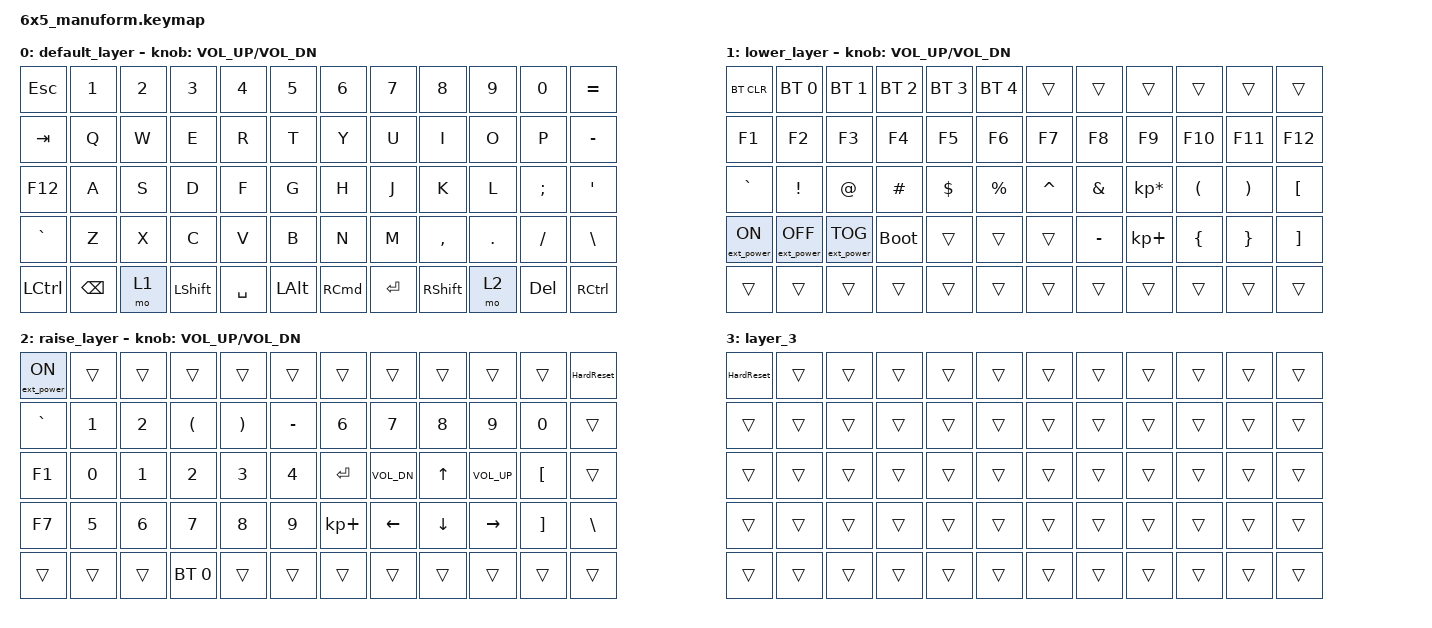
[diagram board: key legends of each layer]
/*
 * Copyright (c) 2020 The ZMK Contributors
 *
 * SPDX-License-Identifier: MIT
 */

#include <behaviors.dtsi>
#include <dt-bindings/zmk/bt.h>
#include <dt-bindings/zmk/ext_power.h>
#include <dt-bindings/zmk/keys.h>

&reset {
};

/ {
    macros {
        HardReset: HardReset {
            compatible = "zmk,behavior-macro";
            #binding-cells = <0>;
            bindings = <&bootloader &kp NON_US_BACKSLASH>;
            label = "HARDRESET";
        };
    };

    combos {
        compatible = "zmk,combos";

        HardReset {
            bindings = <&bootloader>;
            key-positions = <0 1>;
        };
    };

    keymap {
        compatible = "zmk,keymap";

        default_layer {
            // ------------------------------------------------------------------------------------------------------------
            // |  ESC   |  1  |  2  |  3   |  4   |  5   |                    |  6   |  7    |  8    |  9   |   0   |   `   |
            // |  TAB   |  Q  |  W  |  E   |  R   |  T   |                    |  Y   |  U    |  I    |  O   |   P   |   -   |
            // |  CTRL  |  A  |  S  |  D   |  F   |  G   |                    |  H   |  J    |  K    |  L   |   ;   |   '   |
            // | SHIFT  |  Z  |  X  |  C   |  V   |  B   |                    |  N   |  M    |  ,    |  .   |   /   | SHIFT |
            // |    2   |  2  | f   | 6    | 4    | 1    |                    | 2    | 1     | w     | s    | n     |  a    |

            bindings = <
&kp ESC    &kp N1    &kp N2  &kp N3     &kp N4     &kp N5    &kp N6             &kp N7   &kp N8           &kp N9   &kp N0    &kp EQUAL
&kp TAB    &kp Q     &kp W   &kp E      &kp R      &kp T     &kp Y              &kp U    &kp I            &kp O    &kp P     &kp MINUS
&kp F12    &kp A     &kp S   &kp D      &kp F      &kp G     &kp H              &kp J    &kp K            &kp L    &kp SEMI  &kp SQT
&kp GRAVE  &kp Z     &kp X   &kp C      &kp V      &kp B     &kp N              &kp M    &kp COMMA        &kp DOT  &kp FSLH  &kp BSLH
&kp LCTRL  &kp BSPC  &mo 1   &kp LSHFT  &kp SPACE  &kp LALT  &kp RIGHT_COMMAND  &kp RET  &kp RIGHT_SHIFT  &mo 2    &kp DEL   &kp RCTRL
            >;

            sensor-bindings = <&inc_dec_kp C_VOL_UP C_VOL_DN>;
        };

        lower_layer {
            // ------------------------------------------------------------------------------------------------------------
            // | BTCLR | BT1 | BT2 |  BT3 |  BT4 |  BT5 |                   |      |       |       |      |       |       |
            // |  F1   |  F2 |  F3 |  F4  |  F5  |  F6  |                   |  F7  |  F8   |  F9   |  F10 |  F11  |  F12  |
            // |   `   |  !  |  @  |  #   |  $   |  %   |                   |  ^   |  &    |  *    |  (   |   )   |   ~   |
            // |       |     |     |      |      |      |                   |      |  _    |  +    |  {   |   }   |  "|"  |
            // |       |     |     |      |      |      |                   |      |       |       |      |       |       |

            bindings = <
&bt BT_CLR        &bt BT_SEL 0       &bt BT_SEL 1       &bt BT_SEL 2  &bt BT_SEL 3  &bt BT_SEL 4  &trans     &trans     &trans           &trans    &trans    &trans
&kp F1            &kp F2             &kp F3             &kp F4        &kp F5        &kp F6        &kp F7     &kp F8     &kp F9           &kp F10   &kp F11   &kp F12
&kp GRAVE         &kp EXCL           &kp AT             &kp HASH      &kp DOLLAR    &kp PRCNT     &kp CARET  &kp AMPS   &kp KP_MULTIPLY  &kp LPAR  &kp RPAR  &kp LEFT_BRACKET
&ext_power EP_ON  &ext_power EP_OFF  &ext_power EP_TOG  &bootloader   &trans        &trans        &trans     &kp MINUS  &kp KP_PLUS      &kp LBRC  &kp RBRC  &kp RIGHT_BRACKET
&trans            &trans             &trans             &trans        &trans        &trans        &trans     &trans     &trans           &trans    &trans    &trans
            >;

            sensor-bindings = <&inc_dec_kp C_VOL_UP C_VOL_DN>;
        };

        raise_layer {
            // ------------------------------------------------------------------------------------------------------------
            // |       |     |     |      |      |      |                   |      |       |       |      |       |       |
            // |   `   |  1  |  2  |  3   |  4   |  5   |                   |  6   |   7   |   8   |  9   |   0   |       |
            // |   F1  |  F2 |  F3 |  F4  |  F5  |  F6  |                   |      |   <-  |   v   |  ^   |  ->   |       |
            // |   F7  |  F8 |  F9 |  F10 |  F11 |  F12 |		             |  +   |   -   |   =   |  [   |   ]   |   \   |
            // |     |     |      |      |      |        |                   |       |      |       |       |      |       |

            bindings = <
&ext_power EP_ON  &trans        &trans        &trans                &trans                 &trans        &trans       &trans          &trans          &trans        &trans            &HardReset
&kp GRAVE         &kp N1        &kp N2        &kp LEFT_PARENTHESIS  &kp RIGHT_PARENTHESIS  &kp MINUS     &kp N6       &kp N7          &kp N8          &kp N9        &kp N0            &trans
&kp F1            &kp NUMBER_0  &kp NUMBER_1  &kp NUMBER_2          &kp NUMBER_3           &kp NUMBER_4  &kp RET      &kp C_VOL_DN    &kp UP_ARROW    &kp C_VOL_UP  &kp LEFT_BRACKET  &trans
&kp F7            &kp NUMBER_5  &kp NUMBER_6  &kp NUMBER_7          &kp NUMBER_8           &kp N9        &kp KP_PLUS  &kp LEFT_ARROW  &kp DOWN_ARROW  &kp RIGHT     &kp RBKT          &kp BSLH
&trans            &trans        &trans        &bt BT_SEL 0          &trans                 &trans        &trans       &trans          &trans          &trans        &trans            &trans
            >;

            sensor-bindings = <&inc_dec_kp C_VOL_UP C_VOL_DN>;
        };

        layer_3 {
            bindings = <
&HardReset  &trans  &trans  &trans  &trans  &trans  &trans  &trans  &trans  &trans  &trans  &trans
&trans      &trans  &trans  &trans  &trans  &trans  &trans  &trans  &trans  &trans  &trans  &trans
&trans      &trans  &trans  &trans  &trans  &trans  &trans  &trans  &trans  &trans  &trans  &trans
&trans      &trans  &trans  &trans  &trans  &trans  &trans  &trans  &trans  &trans  &trans  &trans
&trans      &trans  &trans  &trans  &trans  &trans  &trans  &trans  &trans  &trans  &trans  &trans
            >;
        };
    };
};
